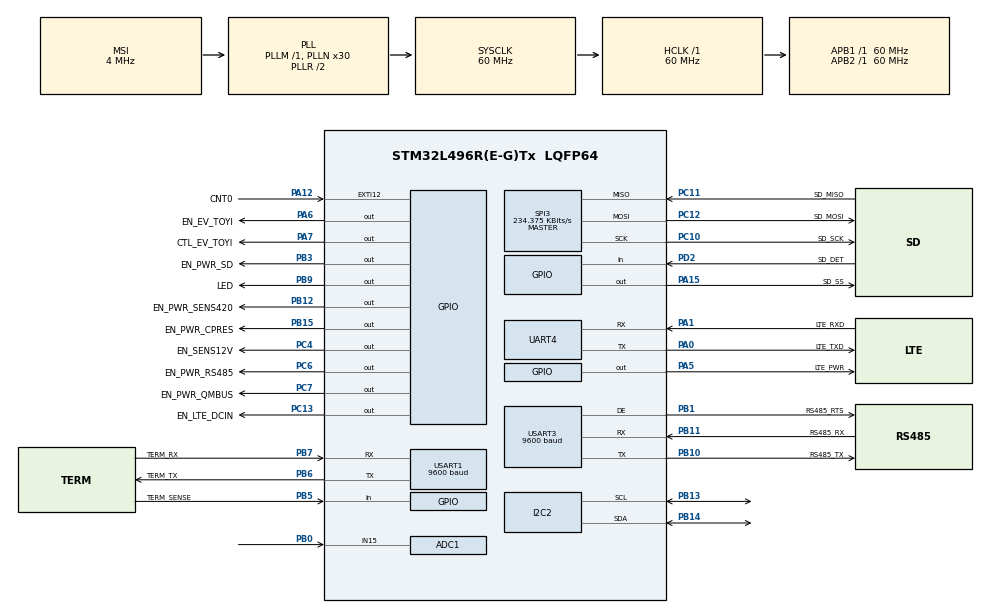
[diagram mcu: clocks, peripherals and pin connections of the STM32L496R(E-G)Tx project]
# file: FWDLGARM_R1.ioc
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ADC1.Channel-0\#ChannelRegularConversion=ADC_CHANNEL_VREFINT
ADC1.ClockPrescaler=ADC_CLOCK_SYNC_PCLK_DIV4
ADC1.EnableAnalogWatchDog2=false
ADC1.NbrOfConversion=1
ADC1.NbrOfConversionFlag=1
ADC1.OffsetNumber-0\#ChannelRegularConversion=ADC_OFFSET_NONE
ADC1.OversamplingMode=ENABLE
ADC1.Rank-0\#ChannelRegularConversion=1
ADC1.Ratio=ADC_OVERSAMPLING_RATIO_16
ADC1.RightBitShift=ADC_RIGHTBITSHIFT_4
ADC1.SamplingTime-0\#ChannelRegularConversion=ADC_SAMPLETIME_640CYCLES_5
ADC1.master=1
FATFS._FS_REENTRANT=0
FATFS._FS_TINY=1
FREERTOS.Tasks01=defaultTask,24,128,StartDefaultTask,Default,NULL,Dynamic,NULL,NULL
FREERTOS.configTICK_RATE_HZ=512
FREERTOS.configUSE_NEWLIB_REENTRANT=1
FREERTOS.configUSE_TICKLESS_IDLE=2
I2C2.Timing=0x10A077A8
LPTIM1.ClockPrescaler=LPTIM_PRESCALER_DIV32
Mcu.Family=STM32L4
Mcu.Name=STM32L496R(E-G)Tx
Mcu.Package=LQFP64
NVIC.EXTI15_10_IRQn=true\:5\:0\:false\:false\:true\:true\:true\:true\:true
NVIC.I2C2_ER_IRQn=true\:5\:0\:false\:false\:true\:true\:true\:true\:true
NVIC.I2C2_EV_IRQn=true\:5\:0\:false\:false\:true\:true\:true\:true\:true
NVIC.LPTIM1_IRQn=true\:15\:0\:true\:false\:true\:true\:true\:true\:true
NVIC.PriorityGroup=NVIC_PRIORITYGROUP_4
NVIC.TIM6_DAC_IRQn=true\:15\:0\:false\:false\:true\:false\:false\:true\:true
NVIC.TimeBase=TIM6_DAC_IRQn
NVIC.TimeBaseIP=TIM6
NVIC.UART4_IRQn=true\:5\:0\:false\:false\:true\:true\:true\:true\:true
NVIC.USART1_IRQn=true\:5\:0\:false\:false\:true\:true\:true\:true\:true
NVIC.USART3_IRQn=true\:5\:0\:false\:false\:true\:true\:true\:true\:true
PA0.GPIO_Label=LTE_TXD
PA0.Mode=Asynchronous
PA0.Signal=UART4_TX
PA1.GPIO_Label=LTE_RXD
PA1.Mode=Asynchronous
PA1.Signal=UART4_RX
PA12.GPIO_Label=CNT0
PA12.GPIO_ModeDefaultEXTI=GPIO_MODE_IT_FALLING
PA12.Signal=GPXTI12
PA13\ (JTMS/SWDIO).Signal=SYS_JTMS-SWDIO
PA14\ (JTCK/SWCLK).Signal=SYS_JTCK-SWCLK
PA15\ (JTDI).GPIO_Label=SD_SS
PA15\ (JTDI).PinState=GPIO_PIN_SET
PA15\ (JTDI).Signal=GPIO_Output
PA5.GPIO_Label=LTE_PWR
PA5.Signal=GPIO_Output
PA6.GPIO_Label=EN_EV_TOYI
PA6.Signal=GPIO_Output
PA7.GPIO_Label=CTL_EV_TOYI
PA7.Signal=GPIO_Output
PB0.Signal=ADCx_IN15
PB1.GPIO_Label=RS485_RTS
PB1.Mode=Hardware Flow Control (RS485)
PB1.Signal=USART3_DE
PB10.GPIO_Label=RS485_TX
PB10.Mode=Asynchronous
PB10.Signal=USART3_TX
PB11.GPIO_Label=RS485_RX
PB11.Mode=Asynchronous
PB11.Signal=USART3_RX
PB12.GPIO_Label=EN_PWR_SENS420
PB12.Signal=GPIO_Output
PB13.Mode=I2C
PB13.Signal=I2C2_SCL
PB14.Mode=I2C
PB14.Signal=I2C2_SDA
PB15.GPIO_Label=EN_PWR_CPRES
PB15.Signal=GPIO_Output
PB3\ (JTDO/TRACESWO).GPIO_Label=EN_PWR_SD
PB3\ (JTDO/TRACESWO).PinState=GPIO_PIN_SET
PB3\ (JTDO/TRACESWO).Signal=GPIO_Output
PB5.GPIO_Label=TERM_SENSE
PB5.GPIO_PuPd=GPIO_PULLUP
PB5.Signal=GPIO_Input
PB6.GPIO_Label=TERM_TX
PB6.Mode=Asynchronous
PB6.Signal=USART1_TX
PB7.GPIO_Label=TERM_RX
PB7.Mode=Asynchronous
PB7.Signal=USART1_RX
PB9.GPIO_Label=LED
PB9.Signal=GPIO_Output
PC10.GPIO_Label=SD_SCK
PC10.Mode=Full_Duplex_Master
PC10.Signal=SPI3_SCK
PC11.GPIO_Label=SD_MISO
PC11.Mode=Full_Duplex_Master
PC11.Signal=SPI3_MISO
PC12.GPIO_Label=SD_MOSI
PC12.Mode=Full_Duplex_Master
PC12.Signal=SPI3_MOSI
PC13.GPIO_Label=EN_LTE_DCIN
PC13.Signal=GPIO_Output
PC14-OSC32_IN\ (PC14).Mode=LSE-External-Oscillator
PC14-OSC32_IN\ (PC14).Signal=RCC_OSC32_IN
PC15-OSC32_OUT\ (PC15).Mode=LSE-External-Oscillator
PC15-OSC32_OUT\ (PC15).Signal=RCC_OSC32_OUT
PC4.GPIO_Label=EN_SENS12V
PC4.Signal=GPIO_Output
PC6.GPIO_Label=EN_PWR_RS485
PC6.Signal=GPIO_Output
PC7.GPIO_Label=EN_PWR_QMBUS
PC7.Signal=GPIO_Output
PD2.GPIO_Label=SD_DET
PD2.GPIO_PuPd=GPIO_PULLUP
PD2.Signal=GPIO_Input
ProjectManager.HeapSize=0x200
ProjectManager.StackSize=0x400
ProjectManager.TargetToolchain=STM32CubeIDE
RCC.ADCFreq_Value=32000000
RCC.AHBFreq_Value=60000000
RCC.APB1Freq_Value=60000000
RCC.APB1TimFreq_Value=60000000
RCC.APB2Freq_Value=60000000
RCC.APB2TimFreq_Value=60000000
RCC.CortexFreq_Value=60000000
RCC.HCLKFreq_Value=60000000
RCC.HSE_VALUE=8000000
RCC.HSI48_VALUE=48000000
RCC.HSI_VALUE=16000000
RCC.LPTIM1CLockSelection=RCC_LPTIM1CLKSOURCE_LSE
RCC.MSI_VALUE=4000000
RCC.PLLN=30
RCC.PLLSAI1N=16
RCC.RTCClockSelection=RCC_RTCCLKSOURCE_LSE
RCC.SYSCLKFreq_VALUE=60000000
RCC.SYSCLKSource=RCC_SYSCLKSOURCE_PLLCLK
RCC.USBFreq_Value=32000000
RCC.VCOOutputFreq_Value=120000000
SH.ADCx_IN15.0=ADC1_IN15,IN15-Single-Ended
SPI3.BaudRatePrescaler=SPI_BAUDRATEPRESCALER_256
SPI3.CalculateBaudRate=234.375 KBits/s
SPI3.DataSize=SPI_DATASIZE_8BIT
SPI3.Direction=SPI_DIRECTION_2LINES
SPI3.Mode=SPI_MODE_MASTER
SPI3.VirtualType=VM_MASTER
USART1.BaudRate=9600
USART1.VirtualMode-Asynchronous=VM_ASYNC
USART3.BaudRate=9600
USART3.VirtualMode-Asynchronous=VM_ASYNC
USART3.VirtualMode-Hardware\ Flow\ Control\ (RS485)=VM_ASYNC
VP_ADC1_Vref_Input.Mode=IN-Vrefint
VP_FATFS_VS_Generic.Mode=User_defined
VP_FREERTOS_VS_CMSIS_V2.Mode=CMSIS_V2
VP_LPTIM1_VS_LPTIM_counterModeInternalClock.Mode=Counts__internal_clock_event_00
VP_RTC_VS_RTC_Activate.Mode=RTC_Enabled
VP_RTC_VS_RTC_Calendar.Mode=RTC_Calendar
VP_SYS_VS_tim6.Mode=TIM6
board=custom

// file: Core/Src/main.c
/* USER CODE BEGIN Header */
/**
  ******************************************************************************
  * @file           : main.c
  * @brief          : Main program body
  ******************************************************************************
  * @attention
  *
  * Copyright (c) 2026 STMicroelectronics.
  * All rights reserved.
  *
  * This software is licensed under terms that can be found in the LICENSE file
  * in the root directory of this software component.
  * If no LICENSE file comes with this software, it is provided AS-IS.
  *
  ******************************************************************************
  */
/* USER CODE END Header */
#include "main.h"
#include "cmsis_os.h"
#include "fatfs.h"

/* USER CODE BEGIN Includes */
#include <stdio.h>
#include <string.h>

#include "tkCtl.h"
#include "tkCmd.h"
#include "tkSys.h"
#include "tkWan.h"
#include "tkCtlPres.h"
#include "tkFlow.h"
/* USER CODE END Includes */

/* USER CODE BEGIN PD */
/* LED_PORT / LED_PIN están en main.h, para que los vean los demás .c. */

/* Patrones de Error_Handler: cantidad de destellos cortos antes de la pausa larga. */
#define ERR_BLINKS_RELOJ      2U   /* un oscilador de baja velocidad no arrancó */
#define ERR_BLINKS_GENERIC    5U   /* cualquier otra falla                      */

/*
 * ---------------------------------------------------------------------------
 * PRUEBA_UART  (2026-09-30) — el test más puro posible del serial
 * ---------------------------------------------------------------------------
 * En 1, main() se desvía acá antes de inicializar nada y NO vuelve. Contesta
 * dos preguntas y nada más:
 *
 *   ¿sale el TX?  -> emite una línea con contador una vez por segundo
 *   ¿entra el RX?  -> hace ECO de cada byte que llega
 *
 * Deliberadamente NO usa: FreeRTOS, el tickless, TERM_SENSE, los candados de
 * energía, drv_uart, FRTOS-IO, ni una sola interrupción. Poleo directo sobre
 * los registros del USART. Si acá el serial no anda, no hay firmware que
 * culpar: es el pin, el conector, el cable o el adaptador.
 *
 * ⭐ El contador sirve para ver si se PIERDEN líneas, y el alfabeto y los
 * dígitos para ver si los bytes se corrompen. Un baudrate mal calculado se
 * manifiesta como basura, no como silencio — son dos síntomas distintos.
 *
 * ⛔ El clear de los flags de error no es decorativo: con un ORE pegado el
 * RXNE deja de levantarse y **el eco muere en silencio**. Sin limpiarlos, un
 * solo overrun al principio parecería un RX roto para siempre.
 */
/*
 * ⭐ QUE TAREAS ARRANCAN — el bisect de consumo de la fase 2.
 *
 * Toda la aplicacion esta COMPILADA desde `0.0.14`, pero una tarea que no se
 * crea es codigo muerto: no corre y no puede consumir. Por eso la variable del
 * bisect no es que archivos entran sino cuales de estos defines estan en 1.
 *
 * Se enciende UNA por vez y se mide el reposo. El orden va de menos a mas
 * riesgo, por lo que cada una prende:
 *
 *   tkSys      los rieles de sensores y Modbus, y vuelca a la microSD
 *   tkWan      el modem
 *   tkCtlPres  el riel del control de presion   } mueven actuadores
 *   tkFlow     la valvula TOYI                  }
 *
 * ⛔ Estos defines van ACA ARRIBA y no mas abajo: un `#if` sobre un `#define`
 * declarado despues se lee como 0 y compila el bloque equivocado SIN DECIR
 * NADA. Ya paso dos veces en este proyecto.
 */
#define ARRANCA_TKSYS           1     /* el poleo                        */
#define ARRANCA_TKWAN           1     /* la sesion con el servidor       */
#define ARRANCA_TKCTLPRES       1     /* la doble consigna               */
#define ARRANCA_TKFLOW          0     /* la valvula TOYI  <- ver abajo   */

/*
 * ⛔ `tkFlow` QUEDA EN 0 A PROPOSITO (decision de Pablo, 2026-10-09):
 * *"No vamos a implementar tkFlow. Queda para versiones posteriores porque por
 * ahora no se usa."*
 *
 * Es el mismo criterio con el que se elimino flowcontrol el 2026-09-22 — no
 * ensuciar el firmware con features que no se usan — pero aplicado mas suave:
 * aca el codigo NO se borra, solo no se crea la tarea. Y eso alcanza, porque un
 * `.c` linkeado cuya tarea nunca arranca no corre y no puede consumir.
 *
 * ⚠ La consecuencia hay que tenerla presente: `wan_frame.c` SI parsea los
 * `VOPEN`/`VCLOSE` que manda el servidor y llama a `tkFlow_orden()`. Con la
 * tarea sin crear esa orden no se puede atender, y por eso `tkFlow_orden()`
 * AVISA por consola en vez de descartarla en silencio: una orden del servidor
 * que se pierde sin dejar rastro es justo lo que este firmware no hace en
 * ningun otro lado.
 */

#define PRUEBA_UART             0     /* 0 = operación normal */

#define PU_PATRON_MS         1000U

/*
 * ---------------------------------------------------------------------------
 * PATRON DE CONSUMO  (2026-09-29)
 * ---------------------------------------------------------------------------
 * En 1, main() se desvía a prvPatronConsumo() ANTES de que se inicialice nada
 * —ni siquiera la consola— y no vuelve.
 *
 * Contesta UNA sola pregunta: **¿cuánto consume este micro dormido, con todo
 * lo demás apagado?** Todo lo que hace está elegido para que la respuesta no
 * dependa de nada más:
 *
 *   - NO configura el PLL: se queda con el MSI a 4 MHz tal como quedó el micro
 *     tras el reset. Cuanto menos se toque, menos hay que sospechar.
 *   - NO inicializa un solo periférico: ni USART, ni I2C, ni SPI, ni ADC.
 *   - Pone TODOS los pines de todos los puertos en ANALÓGICO, que es el estado
 *     de menor fuga. Es justamente lo que el firmware de R001 no hace: él
 *     configura los pines de la placa entera, y en una placa despoblada las
 *     entradas quedan flotando.
 *   - LIMPIA DBGMCU->CR. Ver el comentario de prvPatronConsumo().
 *
 * Referencia contra la cual comparar: el equipo dormido en Stop 2, con el LSE,
 * el RTC y el LPTIM1 vivos, mide **~5 µA** (medido dos veces, con dos pisos de
 * fuente distintos). Acá no está el LPTIM1, así que si algo debería dar MENOS.
 *
 * ⚠ Se mide con el ST-LINK DESENCHUFADO DEL USB: aporta ~145 µA.
 *
 * ⚠ El micro queda en Stop 2 PARA SIEMPRE, donde el SWD está muerto. Para
 *   volver a programarlo hay que conectarse con Mode = "Under reset"
 *   (mode=UR por CLI). NRST sigue funcionando siempre.
 */
#define PATRON_CONSUMO          0     /* 0 = operación normal */

/*
 * En 1 deja el LSE y el RTC corriendo, que es el estado real del equipo: se
 * compara directo contra los ~5 µA de referencia.
 * En 0 no enciende ningún oscilador de baja velocidad y mide el PISO ABSOLUTO
 * del Stop 2, que es más discriminante para decidir si el micro está sano.
 * Los destellos de arranque dicen cuál de las dos se bajó.
 */
#define PC_CON_LSE              1

/*
 * En 1 el patrón limpia DBGMCU_CR antes de dormir; en 0 lo deja como esté.
 *
 * ⭐ Poner esto en 0 es LA PRUEBA que separa las dos causas posibles, porque
 * deja una sola variable: si el consumo vuelve a subir a ~390 µA, el culpable
 * eran los bits de debug; si se queda en ~3 µA, eran los pines flotando.
 */
#define PC_LIMPIAR_DBGMCU       0

/*
 * ⭐ LA BISECCIÓN DEL CONSUMO, en bitmask.
 *
 * El patrón solo da 3 µA. Acá se le agregan periféricos —los mismos
 * MX_*_Init() que corre la operación normal, con los mismos pines— y se vuelve
 * a dormir en Stop 2. Cada bit que se prende acerca el ensayo al firmware
 * real, así que el salto de consumo señala al culpable.
 *
 * Se inicializan DESPUÉS de poner todo en analógico, así que lo que se mide es
 * el aporte del periférico MÁS el de los pines que él configura — que es
 * exactamente el par que interesa.
 *
 * Plan: primero 0xFF para reproducir los ~390 µA en un entorno sin FreeRTOS.
 * Con eso reproducido, búsqueda binaria: 0x0F, después la mitad que salte, y
 * en tres bajadas queda el periférico.
 *
 *   0x01 RTC        0x10 UART4 (LTE)
 *   0x02 LPTIM1     0x20 I2C2
 *   0x04 USART1     0x40 SPI3
 *   0x08 USART3     0x80 ADC1
 */
#define PC_PERIF_RTC        0x01U
#define PC_PERIF_LPTIM1     0x02U
#define PC_PERIF_USART1     0x04U
#define PC_PERIF_USART3     0x08U
#define PC_PERIF_UART4      0x10U
#define PC_PERIF_I2C2       0x20U
#define PC_PERIF_SPI3       0x40U
#define PC_PERIF_ADC1       0x80U

#define PC_PERIFERICOS      0x00U

#define PC_DESTELLOS_CON_LSE   10U   /* "llegué, y con el LSE encendido"  */
#define PC_DESTELLOS_SIN_LSE    5U   /* "llegué, sin osciladores"         */
#define PC_DESTELLOS_SIN_XTAL   2U   /* el LSE se pidió y NO arrancó      */
#define PC_ON_MS              100U
#define PC_OFF_MS             100U
#define PC_DESPERTAR_MS        60U   /* destello de "algo me despertó"    */
    /* período de la línea de prueba */

#define ERR_BLINK_ON_MS       120U
#define ERR_BLINK_OFF_MS      200U
#define ERR_PAUSE_MS         1200U
/* USER CODE END PD */

ADC_HandleTypeDef hadc1;

I2C_HandleTypeDef hi2c2;

LPTIM_HandleTypeDef hlptim1;

RTC_HandleTypeDef hrtc;

SPI_HandleTypeDef hspi3;

UART_HandleTypeDef huart4;
UART_HandleTypeDef huart1;
UART_HandleTypeDef huart3;

/* Definitions for defaultTask */
osThreadId_t defaultTaskHandle;
const osThreadAttr_t defaultTask_attributes = {
  .name = "defaultTask",
  .stack_size = 128 * 4,
  .priority = (osPriority_t) osPriorityNormal,
};
/* USER CODE BEGIN PV */
/* La memoria estática de cada tarea la define la tarea misma, en su .c de
   Application/tasks/. Acá no va nada. */
/* USER CODE END PV */

void SystemClock_Config(void);
static void MX_GPIO_Init(void);
static void MX_RTC_Init(void);
static void MX_LPTIM1_Init(void);
static void MX_ADC1_Init(void);
static void MX_USART1_UART_Init(void);
static void MX_I2C2_Init(void);
static void MX_USART3_UART_Init(void);
static void MX_SPI3_Init(void);
static void MX_UART4_Init(void);
void StartDefaultTask(void *argument);

/* USER CODE BEGIN PFP */
static void led_config( void );
static void error_delay_ms( uint32_t ms );
#if ( PRUEBA_UART == 1 )
static void prvPruebaUart( void );
#endif
#if ( PATRON_CONSUMO == 1 )
static void prvPatronConsumo( void );
#endif
/* USER CODE END PFP */

/* USER CODE BEGIN 0 */
#if ( PATRON_CONSUMO == 1 )
/*
 * Deja el LED destellando N veces y después duerme para siempre en Stop 2.
 * No retorna. Ver el comentario del #define, más arriba.
 */
static void prvPatronConsumo( void )
{
    GPIO_InitTypeDef gpio      = { 0 };
    uint32_t         destellos = 0U;
    uint32_t         i;

    /* error_delay_ms() calibra su lazo con SystemCoreClock, y acá el SysTick no
       corre. Tras el reset el MSI está en 4 MHz; sin esta línea los destellos
       saldrían quince veces más rápidos, que es el mismo pozo que costó medio
       día el 2026-08-11 con Error_Handler(). */
    SystemCoreClockUpdate();

    /*
     * ⛔ EL SOSPECHOSO NÚMERO UNO, y por eso es lo primero que se hace.
     *
     * Al conectarse, CubeProgrammer y el GDB server del IDE informan
     * "Debug in Low Power mode enabled" y ponen DBG_SLEEP / DBG_STOP /
     * DBG_STANDBY en DBGMCU_CR. Con DBG_STOP puesto **el micro NO apaga los
     * relojes al entrar en Stop 2**: los mantiene para que el debugger no
     * pierda el enganche. Un micro que cree estar dormido y tiene el reloj
     * corriendo consume cientos de µA en vez de unidades.
     *
     * Y lo que lo vuelve traicionero: DBGMCU_CR **NO se resetea con el reset
     * del sistema**, sólo con el power-on reset. O sea que los bits sobreviven
     * a NRST, a un reset por software y a cuantos firmwares se bajen encima —
     * pero desaparecen si se corta la alimentación. Eso explica que una misma
     * placa mida distinto según si hubo o no un ciclo de energía antes.
     *
     * Nadie del firmware los pone; los pone la herramienta al conectarse.
     */
#if ( PC_LIMPIAR_DBGMCU == 1 )
    DBGMCU->CR = 0U;
#endif

    /* ---- los destellos dicen QUÉ binario se bajó ---------------------- */
#if ( PC_CON_LSE == 1 )
    destellos = PC_DESTELLOS_CON_LSE;
#else
    destellos = PC_DESTELLOS_SIN_LSE;
#endif

    led_config();

    for( i = 0U; i < destellos; i++ )
    {
        HAL_GPIO_WritePin( LED_PORT, LED_PIN, GPIO_PIN_SET );
        error_delay_ms( PC_ON_MS );
        HAL_GPIO_WritePin( LED_PORT, LED_PIN, GPIO_PIN_RESET );
        error_delay_ms( PC_OFF_MS );
    }

#if ( PC_CON_LSE == 1 )
    /*
     * El LSE va ANTES de poner los pines en analógico, por dos razones: para
     * poder avisar por el LED si el cristal no arranca, y porque una vez
     * encendido el oscilador toma control de PC14/PC15 y el GPIO deja de
     * mandar sobre ellos.
     */
    {
        RCC_OscInitTypeDef       osc    = { 0 };
        RCC_PeriphCLKInitTypeDef periph = { 0 };

        HAL_PWR_EnableBkUpAccess();

        osc.OscillatorType = RCC_OSCILLATORTYPE_LSE;
        osc.LSEState       = RCC_LSE_ON;
        osc.PLL.PLLState   = RCC_PLL_NONE;      /* que no toque el PLL */

        if( HAL_RCC_OscConfig( &osc ) == HAL_OK )
        {
            __HAL_RCC_LSEDRIVE_CONFIG( RCC_LSEDRIVE_LOW );

            /* El RTC es el consumidor que hace que el LSE quede realmente en
               uso; sin un consumidor el oscilador no aporta nada al ensayo. */
            periph.PeriphClockSelection = RCC_PERIPHCLK_RTC;
            periph.RTCClockSelection    = RCC_RTCCLKSOURCE_LSE;
            ( void ) HAL_RCCEx_PeriphCLKConfig( &periph );
            __HAL_RCC_RTC_ENABLE();
        }
        else
        {
            /* No se llama a Error_Handler(): el ensayo sigue valiendo sin el
               cristal, sólo hay que saber que se está midiendo sin él. */
            error_delay_ms( 800U );

            for( i = 0U; i < PC_DESTELLOS_SIN_XTAL; i++ )
            {
                HAL_GPIO_WritePin( LED_PORT, LED_PIN, GPIO_PIN_SET );
                error_delay_ms( 400U );
                HAL_GPIO_WritePin( LED_PORT, LED_PIN, GPIO_PIN_RESET );
                error_delay_ms( 400U );
            }
        }
    }
#endif /* PC_CON_LSE */

    /*
     * ---- TODOS los pines en analógico -------------------------------------
     *
     * Analógico + sin pull es el estado de menor fuga que tiene el silicio:
     * desconecta el buffer de entrada digital, que es lo que consume cuando un
     * pin queda flotando cerca del umbral y hace conducir a la vez los dos
     * transistores de su etapa.
     *
     * Es también el estado en que quedan los pines tras el reset, así que esto
     * es explícito a propósito: el ensayo no debe depender de suposiciones
     * sobre lo que quedó de antes.
     *
     * Dos exclusiones, las dos deliberadas:
     *   - PA13/PA14 (SWD): sus pulls internos no conducen con el dongle
     *     desconectado, así que dejarlos vivos es gratis y conserva la
     *     posibilidad de engancharse.
     *   - PC14/PC15 (OSC32): con el LSE encendido los maneja el oscilador.
     *
     * Sólo se barren los puertos que tienen pines en el LQFP64. Un pin de un
     * puerto que no sale al encapsulado está atado internamente y no flota.
     */
    gpio.Mode  = GPIO_MODE_ANALOG;
    gpio.Pull  = GPIO_NOPULL;
    gpio.Speed = GPIO_SPEED_FREQ_LOW;

    __HAL_RCC_GPIOA_CLK_ENABLE();
    gpio.Pin = GPIO_PIN_All & ~( GPIO_PIN_13 | GPIO_PIN_14 );
    HAL_GPIO_Init( GPIOA, &gpio );

    __HAL_RCC_GPIOB_CLK_ENABLE();
    gpio.Pin = GPIO_PIN_All;                    /* incluye el LED: se apaga */
    HAL_GPIO_Init( GPIOB, &gpio );

    __HAL_RCC_GPIOC_CLK_ENABLE();
    gpio.Pin = GPIO_PIN_All & ~( GPIO_PIN_14 | GPIO_PIN_15 );
    HAL_GPIO_Init( GPIOC, &gpio );

    __HAL_RCC_GPIOD_CLK_ENABLE();
    gpio.Pin = GPIO_PIN_All;
    HAL_GPIO_Init( GPIOD, &gpio );

    __HAL_RCC_GPIOH_CLK_ENABLE();
    gpio.Pin = GPIO_PIN_All;
    HAL_GPIO_Init( GPIOH, &gpio );

    /*
     * ---- los periféricos que se quieran sumar al ensayo -------------------
     *
     * Van DESPUÉS del aislado a propósito: cada MX_*_Init() reconfigura los
     * pines que usa, así que lo que queda medido es el periférico con sus
     * pines tal como los deja la operación normal.
     */
#if ( ( PC_PERIFERICOS & PC_PERIF_RTC ) != 0U )
    MX_RTC_Init();
#endif
#if ( ( PC_PERIFERICOS & PC_PERIF_LPTIM1 ) != 0U )
    MX_LPTIM1_Init();
#endif
#if ( ( PC_PERIFERICOS & PC_PERIF_USART1 ) != 0U )
    MX_USART1_UART_Init();
#endif
#if ( ( PC_PERIFERICOS & PC_PERIF_USART3 ) != 0U )
    MX_USART3_UART_Init();
#endif
#if ( ( PC_PERIFERICOS & PC_PERIF_UART4 ) != 0U )
    MX_UART4_Init();
#endif
#if ( ( PC_PERIFERICOS & PC_PERIF_I2C2 ) != 0U )
    MX_I2C2_Init();
#endif
#if ( ( PC_PERIFERICOS & PC_PERIF_SPI3 ) != 0U )
    MX_SPI3_Init();
#endif
#if ( ( PC_PERIFERICOS & PC_PERIF_ADC1 ) != 0U )
    MX_ADC1_Init();
#endif

    /*
     * ---- a dormir, y no volver --------------------------------------------
     *
     * El SysTick se suspende: con él corriendo habría una interrupción
     * pendiente cada milisegundo, que es justo lo que no deja entrar al WFI.
     *
     * El lazo está porque despertar NO debería pasar: con todos los pines en
     * analógico no hay EXTI posible y no hay periférico configurado. Si el LED
     * destella tres veces, ALGO está despertando al micro y la medición no vale
     * — y eso es un diagnóstico, no un adorno: distingue "consume dormido" de
     * "no se queda dormido", que desde el amperímetro se ven igual.
     */
    HAL_SuspendTick();

    for( ;; )
    {
        HAL_PWREx_EnterSTOP2Mode( PWR_STOPENTRY_WFI );

        /* Al salir de Stop el reloj vuelve al MSI: recalibrar el lazo. */
        SystemCoreClockUpdate();

        led_config();

        for( i = 0U; i < 3U; i++ )
        {
            HAL_GPIO_WritePin( LED_PORT, LED_PIN, GPIO_PIN_SET );
            error_delay_ms( PC_DESPERTAR_MS );
            HAL_GPIO_WritePin( LED_PORT, LED_PIN, GPIO_PIN_RESET );
            error_delay_ms( PC_DESPERTAR_MS );
        }

        gpio.Mode = GPIO_MODE_ANALOG;
        gpio.Pull = GPIO_NOPULL;
        gpio.Pin  = LED_PIN;
        HAL_GPIO_Init( LED_PORT, &gpio );
    }
}
#endif /* PATRON_CONSUMO */

#if ( PRUEBA_UART == 1 )
/* Ver el comentario del #define PRUEBA_UART, más arriba. No retorna. */
static void prvPruebaUart( void )
{
    char           cLinea[ 80 ];
    uint32_t       ulLinea   = 0U;
    uint32_t       ulProxima = 0U;
    USART_TypeDef *pxUsart;

    /* El reloj va acá porque esta función se desvía ANTES de que main() llegue
       a SystemClock_Config(). Es la misma llamada: 60 MHz, y de ahí sale el
       divisor de 9600 del USART. */
    SystemClock_Config();

    /* La USART y sus pines. El MspInit configura PB6/PB7 en AF7 y habilita el
       reloj del periférico; no hace falta MX_GPIO_Init() para esto. */
    MX_USART1_UART_Init();

    led_config();

    pxUsart = huart1.Instance;

    /* ⚠ El largo va con strlen() y no con un número: el primer intento puso 46
       donde eran 49 y el banner habría salido cortado. Un largo escrito a mano
       es un bug esperando a que alguien cambie el texto. */
    static const char cBanner[] = "\r\n\r\n== PRUEBA_UART: TX cada 1 s + ECO del RX ==\r\n";

    ( void ) HAL_UART_Transmit( &huart1, ( const uint8_t * ) cBanner,
                                ( uint16_t ) strlen( cBanner ), HAL_MAX_DELAY );

    for( ;; )
    {
        /*
         * ---- 1. EL ECO, lo primero y en cada vuelta ----------------------
         *
         * Va antes que el patrón y sin ninguna espera en el medio: así el byte
         * se devuelve en cuanto llega y no hay ventana para perderlo.
         */
        if( ( pxUsart->ISR & USART_ISR_RXNE ) != 0U )
        {
            uint32_t ulRx = pxUsart->RDR;          /* leer RDR limpia RXNE */

            while( ( pxUsart->ISR & USART_ISR_TXE ) == 0U )
            {
            }
            pxUsart->TDR = ulRx;
        }

        /*
         * ---- 2. Limpiar los errores --------------------------------------
         *
         * ⛔ Con un ORE pegado el RXNE no vuelve a levantarse y el eco muere
         * para siempre. Un solo overrun —dos bytes seguidos mientras el TX del
         * patrón estaba ocupado— parecería un RX roto.
         */
        if( ( pxUsart->ISR & ( USART_ISR_ORE | USART_ISR_FE |
                               USART_ISR_NE  | USART_ISR_PE ) ) != 0U )
        {
            pxUsart->ICR = USART_ICR_ORECF | USART_ICR_FECF |
                           USART_ICR_NECF  | USART_ICR_PECF;
        }

        /*
         * ---- 3. El patrón, una vez por segundo ---------------------------
         *
         * HAL_GetTick() sirve acá porque sin FreeRTOS el timebase de la HAL
         * (TIM6) corre normalmente: no hay tickless que lo suspenda.
         */
        if( ( int32_t ) ( HAL_GetTick() - ulProxima ) >= 0 )
        {
            ulProxima = HAL_GetTick() + PU_PATRON_MS;

            int n = snprintf( cLinea, sizeof( cLinea ),
                              "TX %06lu ABCDEFGHIJKLMNOPQRSTUVWXYZ 0123456789\r\n",
                              ( unsigned long ) ulLinea++ );

            if( n > 0 )
            {
                ( void ) HAL_UART_Transmit( &huart1, ( const uint8_t * ) cLinea,
                                            ( uint16_t ) n, HAL_MAX_DELAY );
            }

            /* Cambia en cada línea: el LED late a 0,5 Hz mientras esto corre. */
            HAL_GPIO_TogglePin( LED_PORT, LED_PIN );
        }
    }
}
#endif /* PRUEBA_UART */

/*
 * Configura el pin del LED. Se llama desde Error_Handler() además del arranque,
 * porque una falla puede dispararse ANTES de MX_GPIO_Init().
 */
static void led_config( void )
{
    GPIO_InitTypeDef gpio = { 0 };

    __HAL_RCC_GPIOB_CLK_ENABLE();
    gpio.Pin   = LED_PIN;
    gpio.Mode  = GPIO_MODE_OUTPUT_PP;
    gpio.Pull  = GPIO_NOPULL;
    gpio.Speed = GPIO_SPEED_FREQ_LOW;
    HAL_GPIO_Init( LED_PORT, &gpio );
}

/*
 * Espera por sondeo, para los destellos de diagnóstico.
 *
 * ⚠ Con el tick del kernel en el LPTIM1 el SysTick NUNCA se arranca, así que en
 * la práctica se usa siempre la rama del lazo tosco. El contador es volatile
 * para que el compilador no lo elimine con -Os.
 *
 * ⚠ El lazo se calibra con SystemCoreClock: quien lo llame después de un cambio
 * de reloj tiene que haber corrido SystemCoreClockUpdate() antes, o los tiempos
 * salen hasta quince veces más rápidos. Ver Error_Handler().
 */
static void error_delay_ms( uint32_t ms )
{
    if( ( SysTick->CTRL & SysTick_CTRL_ENABLE_Msk ) != 0U )
    {
        while( ms-- )
        {
            while( ( SysTick->CTRL & SysTick_CTRL_COUNTFLAG_Msk ) == 0U )
            {
            }
        }
    }
    else
    {
        volatile uint32_t vueltas = ms * ( SystemCoreClock / 8000U );
        while( vueltas-- )
        {
        }
    }
}
/* USER CODE END 0 */

int main(void)
{

  /* MCU Configuration--------------------------------------------------------*/

  /* Reset of all peripherals, Initializes the Flash interface and the Systick. */
  HAL_Init();

  /* USER CODE BEGIN Init */
#if ( PATRON_CONSUMO == 1 )
  /* Se va acá y NO VUELVE, antes de que se inicialice nada: levantar la USART
     dejaría PB6/PB7 en alterno y el periférico encendido, que es exactamente lo
     que este ensayo no quiere tener prendido. */
  prvPatronConsumo();
#endif

#if ( PRUEBA_UART == 1 )
  /* Se va acá y no vuelve. Ver el comentario del #define PRUEBA_UART. */
  prvPruebaUart();
#endif
  /* USER CODE END Init */

  /* Configure the system clock */
  SystemClock_Config();

  /* Initialize all configured peripherals */
  MX_GPIO_Init();
  MX_RTC_Init();
  MX_LPTIM1_Init();
  MX_ADC1_Init();
  MX_USART1_UART_Init();
  MX_I2C2_Init();
  MX_USART3_UART_Init();
  MX_SPI3_Init();
  MX_UART4_Init();
  MX_FATFS_Init();

  /* Init scheduler */
  osKernelInitialize();

  /* Create the thread(s) */
  /* creation of defaultTask */
  defaultTaskHandle = osThreadNew(StartDefaultTask, NULL, &defaultTask_attributes);

  /* USER CODE BEGIN RTOS_THREADS */
  /* La única tarea del firmware, con la API nativa de FreeRTOS (no el wrapper
     CMSIS) y memoria estática: no toca el heap. */
  xHandle_tkCtl = xTaskCreateStatic( tkCtl,
                                     "CTL",
                                     tkCtl_STACK_SIZE,  /* en PALABRAS, no bytes */
                                     NULL,
                                     tkCtl_PRIORITY,
                                     tkCtl_Stack,
                                     &tkCtl_TCB );
  if ( xHandle_tkCtl == NULL )
  {
    Error_Handler();
  }

  /* La consola. Abre los drivers de FRTOS-IO desde adentro de la tarea, porque
     crear semáforos y stream buffers necesita el scheduler ya corriendo. */
  if ( xTaskCreateStatic( tkCmd,
                          "CMD",
                          tkCmd_STACK_SIZE,
                          NULL,
                          tkCmd_PRIORITY,
                          tkCmd_Stack,
                          &tkCmd_TCB ) == NULL )
  {
    Error_Handler();
  }

#if ( ARRANCA_TKSYS == 1 )
  xHandle_tkSys = xTaskCreateStatic( tkSys, "SYS", tkSys_STACK_SIZE, NULL,
                                     tkSys_PRIORITY, tkSys_Stack, &tkSys_TCB );
  if ( xHandle_tkSys == NULL ) { Error_Handler(); }
#endif

#if ( ARRANCA_TKWAN == 1 )
  xHandle_tkWan = xTaskCreateStatic( tkWan, "WAN", tkWan_STACK_SIZE, NULL,
                                     tkWan_PRIORITY, tkWan_Stack, &tkWan_TCB );
  if ( xHandle_tkWan == NULL ) { Error_Handler(); }
#endif

#if ( ARRANCA_TKCTLPRES == 1 )
  xHandle_tkCtlPres = xTaskCreateStatic( tkCtlPres, "CPRES", tkCtlPres_STACK_SIZE, NULL,
                                         tkCtlPres_PRIORITY, tkCtlPres_Stack, &tkCtlPres_TCB );
  if ( xHandle_tkCtlPres == NULL ) { Error_Handler(); }
#endif

#if ( ARRANCA_TKFLOW == 1 )
  xHandle_tkFlow = xTaskCreateStatic( tkFlow, "FLOW", tkFlow_STACK_SIZE, NULL,
                                      tkFlow_PRIORITY, tkFlow_Stack, &tkFlow_TCB );
  if ( xHandle_tkFlow == NULL ) { Error_Handler(); }
#endif
  /* USER CODE END RTOS_THREADS */

  /* Start scheduler */
  osKernelStart();

  /* We should never get here as control is now taken by the scheduler */

  /* Infinite loop */
  while (1)
  {

  }
}

void SystemClock_Config(void)
{
  RCC_OscInitTypeDef RCC_OscInitStruct = {0};
  RCC_ClkInitTypeDef RCC_ClkInitStruct = {0};

  /** Configure the main internal regulator output voltage
  */
  if (HAL_PWREx_ControlVoltageScaling(PWR_REGULATOR_VOLTAGE_SCALE1) != HAL_OK)
  {
    Error_Handler();
  }

  /** Configure LSE Drive Capability
  */
  HAL_PWR_EnableBkUpAccess();
  __HAL_RCC_LSEDRIVE_CONFIG(RCC_LSEDRIVE_LOW);

  /** Initializes the RCC Oscillators according to the specified parameters
  * in the RCC_OscInitTypeDef structure.
  */
  RCC_OscInitStruct.OscillatorType = RCC_OSCILLATORTYPE_LSE|RCC_OSCILLATORTYPE_MSI;
  RCC_OscInitStruct.LSEState = RCC_LSE_ON;
  RCC_OscInitStruct.MSIState = RCC_MSI_ON;
  RCC_OscInitStruct.MSICalibrationValue = 0;
  RCC_OscInitStruct.MSIClockRange = RCC_MSIRANGE_6;
  RCC_OscInitStruct.PLL.PLLState = RCC_PLL_ON;
  RCC_OscInitStruct.PLL.PLLSource = RCC_PLLSOURCE_MSI;
  RCC_OscInitStruct.PLL.PLLM = 1;
  RCC_OscInitStruct.PLL.PLLN = 30;
  RCC_OscInitStruct.PLL.PLLP = RCC_PLLP_DIV2;
  RCC_OscInitStruct.PLL.PLLQ = RCC_PLLQ_DIV2;
  RCC_OscInitStruct.PLL.PLLR = RCC_PLLR_DIV2;
  if (HAL_RCC_OscConfig(&RCC_OscInitStruct) != HAL_OK)
  {
    Error_Handler();
  }

  /** Initializes the CPU, AHB and APB buses clocks
  */
  RCC_ClkInitStruct.ClockType = RCC_CLOCKTYPE_HCLK|RCC_CLOCKTYPE_SYSCLK
                              |RCC_CLOCKTYPE_PCLK1|RCC_CLOCKTYPE_PCLK2;
  RCC_ClkInitStruct.SYSCLKSource = RCC_SYSCLKSOURCE_PLLCLK;
  RCC_ClkInitStruct.AHBCLKDivider = RCC_SYSCLK_DIV1;
  RCC_ClkInitStruct.APB1CLKDivider = RCC_HCLK_DIV1;
  RCC_ClkInitStruct.APB2CLKDivider = RCC_HCLK_DIV1;

  if (HAL_RCC_ClockConfig(&RCC_ClkInitStruct, FLASH_LATENCY_3) != HAL_OK)
  {
    Error_Handler();
  }
}

static void MX_ADC1_Init(void)
{

  ADC_MultiModeTypeDef multimode = {0};
  ADC_ChannelConfTypeDef sConfig = {0};

  /** Common config
  */
  hadc1.Instance = ADC1;
  hadc1.Init.ClockPrescaler = ADC_CLOCK_SYNC_PCLK_DIV4;
  hadc1.Init.Resolution = ADC_RESOLUTION_12B;
  hadc1.Init.DataAlign = ADC_DATAALIGN_RIGHT;
  hadc1.Init.ScanConvMode = ADC_SCAN_DISABLE;
  hadc1.Init.EOCSelection = ADC_EOC_SINGLE_CONV;
  hadc1.Init.LowPowerAutoWait = DISABLE;
  hadc1.Init.ContinuousConvMode = DISABLE;
  hadc1.Init.NbrOfConversion = 1;
  hadc1.Init.DiscontinuousConvMode = DISABLE;
  hadc1.Init.ExternalTrigConv = ADC_SOFTWARE_START;
  hadc1.Init.ExternalTrigConvEdge = ADC_EXTERNALTRIGCONVEDGE_NONE;
  hadc1.Init.DMAContinuousRequests = DISABLE;
  hadc1.Init.Overrun = ADC_OVR_DATA_PRESERVED;
  hadc1.Init.OversamplingMode = ENABLE;
  hadc1.Init.Oversampling.Ratio = ADC_OVERSAMPLING_RATIO_16;
  hadc1.Init.Oversampling.RightBitShift = ADC_RIGHTBITSHIFT_4;
  hadc1.Init.Oversampling.TriggeredMode = ADC_TRIGGEREDMODE_SINGLE_TRIGGER;
  hadc1.Init.Oversampling.OversamplingStopReset = ADC_REGOVERSAMPLING_CONTINUED_MODE;
  if (HAL_ADC_Init(&hadc1) != HAL_OK)
  {
    Error_Handler();
  }

  /** Configure the ADC multi-mode
  */
  multimode.Mode = ADC_MODE_INDEPENDENT;
  if (HAL_ADCEx_MultiModeConfigChannel(&hadc1, &multimode) != HAL_OK)
  {
    Error_Handler();
  }

  /** Configure Regular Channel
  */
  sConfig.Channel = ADC_CHANNEL_VREFINT;
  sConfig.Rank = ADC_REGULAR_RANK_1;
  sConfig.SamplingTime = ADC_SAMPLETIME_640CYCLES_5;
  sConfig.SingleDiff = ADC_SINGLE_ENDED;
  sConfig.OffsetNumber = ADC_OFFSET_NONE;
  sConfig.Offset = 0;
  if (HAL_ADC_ConfigChannel(&hadc1, &sConfig) != HAL_OK)
  {
    Error_Handler();
  }

}

static void MX_I2C2_Init(void)
{

  hi2c2.Instance = I2C2;
  hi2c2.Init.Timing = 0x10A077A8;
  hi2c2.Init.OwnAddress1 = 0;
  hi2c2.Init.AddressingMode = I2C_ADDRESSINGMODE_7BIT;
  hi2c2.Init.DualAddressMode = I2C_DUALADDRESS_DISABLE;
  hi2c2.Init.OwnAddress2 = 0;
  hi2c2.Init.OwnAddress2Masks = I2C_OA2_NOMASK;
  hi2c2.Init.GeneralCallMode = I2C_GENERALCALL_DISABLE;
  hi2c2.Init.NoStretchMode = I2C_NOSTRETCH_DISABLE;
  if (HAL_I2C_Init(&hi2c2) != HAL_OK)
  {
    Error_Handler();
  }

  /** Configure Analogue filter
  */
  if (HAL_I2CEx_ConfigAnalogFilter(&hi2c2, I2C_ANALOGFILTER_ENABLE) != HAL_OK)
  {
    Error_Handler();
  }

  /** Configure Digital filter
  */
  if (HAL_I2CEx_ConfigDigitalFilter(&hi2c2, 0) != HAL_OK)
  {
    Error_Handler();
  }

}

static void MX_LPTIM1_Init(void)
{

  hlptim1.Instance = LPTIM1;
  hlptim1.Init.Clock.Source = LPTIM_CLOCKSOURCE_APBCLOCK_LPOSC;
  hlptim1.Init.Clock.Prescaler = LPTIM_PRESCALER_DIV32;
  hlptim1.Init.Trigger.Source = LPTIM_TRIGSOURCE_SOFTWARE;
  hlptim1.Init.OutputPolarity = LPTIM_OUTPUTPOLARITY_HIGH;
  hlptim1.Init.UpdateMode = LPTIM_UPDATE_IMMEDIATE;
  hlptim1.Init.CounterSource = LPTIM_COUNTERSOURCE_INTERNAL;
  hlptim1.Init.Input1Source = LPTIM_INPUT1SOURCE_GPIO;
  hlptim1.Init.Input2Source = LPTIM_INPUT2SOURCE_GPIO;
  if (HAL_LPTIM_Init(&hlptim1) != HAL_OK)
  {
    Error_Handler();
  }

}

static void MX_RTC_Init(void)
{

  RTC_TimeTypeDef sTime = {0};
  RTC_DateTypeDef sDate = {0};

  /** Initialize RTC Only
  */
  hrtc.Instance = RTC;
  hrtc.Init.HourFormat = RTC_HOURFORMAT_24;
  hrtc.Init.AsynchPrediv = 127;
  hrtc.Init.SynchPrediv = 255;
  hrtc.Init.OutPut = RTC_OUTPUT_DISABLE;
  hrtc.Init.OutPutRemap = RTC_OUTPUT_REMAP_NONE;
  hrtc.Init.OutPutPolarity = RTC_OUTPUT_POLARITY_HIGH;
  hrtc.Init.OutPutType = RTC_OUTPUT_TYPE_OPENDRAIN;
  if (HAL_RTC_Init(&hrtc) != HAL_OK)
  {
    Error_Handler();
  }

  /** Initialize RTC and set the Time and Date
  */
  sTime.Hours = 0x0;
  sTime.Minutes = 0x0;
  sTime.Seconds = 0x0;
  sTime.DayLightSaving = RTC_DAYLIGHTSAVING_NONE;
  sTime.StoreOperation = RTC_STOREOPERATION_RESET;
  if (HAL_RTC_SetTime(&hrtc, &sTime, RTC_FORMAT_BCD) != HAL_OK)
  {
    Error_Handler();
  }
  sDate.WeekDay = RTC_WEEKDAY_MONDAY;
  sDate.Month = RTC_MONTH_JANUARY;
  sDate.Date = 0x1;
  sDate.Year = 0x0;

  if (HAL_RTC_SetDate(&hrtc, &sDate, RTC_FORMAT_BCD) != HAL_OK)
  {
    Error_Handler();
  }

}

static void MX_SPI3_Init(void)
{

  /* SPI3 parameter configuration*/
  hspi3.Instance = SPI3;
  hspi3.Init.Mode = SPI_MODE_MASTER;
  hspi3.Init.Direction = SPI_DIRECTION_2LINES;
  hspi3.Init.DataSize = SPI_DATASIZE_8BIT;
  hspi3.Init.CLKPolarity = SPI_POLARITY_LOW;
  hspi3.Init.CLKPhase = SPI_PHASE_1EDGE;
  hspi3.Init.NSS = SPI_NSS_SOFT;
  hspi3.Init.BaudRatePrescaler = SPI_BAUDRATEPRESCALER_256;
  hspi3.Init.FirstBit = SPI_FIRSTBIT_MSB;
  hspi3.Init.TIMode = SPI_TIMODE_DISABLE;
  hspi3.Init.CRCCalculation = SPI_CRCCALCULATION_DISABLE;
  hspi3.Init.CRCPolynomial = 7;
  hspi3.Init.CRCLength = SPI_CRC_LENGTH_DATASIZE;
  hspi3.Init.NSSPMode = SPI_NSS_PULSE_ENABLE;
  if (HAL_SPI_Init(&hspi3) != HAL_OK)
  {
    Error_Handler();
  }

}

static void MX_UART4_Init(void)
{

  huart4.Instance = UART4;
  huart4.Init.BaudRate = 115200;
  huart4.Init.WordLength = UART_WORDLENGTH_8B;
  huart4.Init.StopBits = UART_STOPBITS_1;
  huart4.Init.Parity = UART_PARITY_NONE;
  huart4.Init.Mode = UART_MODE_TX_RX;
  huart4.Init.HwFlowCtl = UART_HWCONTROL_NONE;
  huart4.Init.OverSampling = UART_OVERSAMPLING_16;
  huart4.Init.OneBitSampling = UART_ONE_BIT_SAMPLE_DISABLE;
  huart4.AdvancedInit.AdvFeatureInit = UART_ADVFEATURE_NO_INIT;
  if (HAL_UART_Init(&huart4) != HAL_OK)
  {
    Error_Handler();
  }

}

static void MX_USART1_UART_Init(void)
{

  huart1.Instance = USART1;
  huart1.Init.BaudRate = 9600;
  huart1.Init.WordLength = UART_WORDLENGTH_8B;
  huart1.Init.StopBits = UART_STOPBITS_1;
  huart1.Init.Parity = UART_PARITY_NONE;
  huart1.Init.Mode = UART_MODE_TX_RX;
  huart1.Init.HwFlowCtl = UART_HWCONTROL_NONE;
  huart1.Init.OverSampling = UART_OVERSAMPLING_16;
  huart1.Init.OneBitSampling = UART_ONE_BIT_SAMPLE_DISABLE;
  huart1.AdvancedInit.AdvFeatureInit = UART_ADVFEATURE_NO_INIT;
  if (HAL_UART_Init(&huart1) != HAL_OK)
  {
    Error_Handler();
  }

}

static void MX_USART3_UART_Init(void)
{

  huart3.Instance = USART3;
  huart3.Init.BaudRate = 9600;
  huart3.Init.WordLength = UART_WORDLENGTH_8B;
  huart3.Init.StopBits = UART_STOPBITS_1;
  huart3.Init.Parity = UART_PARITY_NONE;
  huart3.Init.Mode = UART_MODE_TX_RX;
  huart3.Init.HwFlowCtl = UART_HWCONTROL_NONE;
  huart3.Init.OverSampling = UART_OVERSAMPLING_16;
  huart3.Init.OneBitSampling = UART_ONE_BIT_SAMPLE_DISABLE;
  huart3.AdvancedInit.AdvFeatureInit = UART_ADVFEATURE_NO_INIT;
  if (HAL_RS485Ex_Init(&huart3, UART_DE_POLARITY_HIGH, 0, 0) != HAL_OK)
  {
    Error_Handler();
  }

}

static void MX_GPIO_Init(void)
{
  GPIO_InitTypeDef GPIO_InitStruct = {0};

  /* GPIO Ports Clock Enable */
  __HAL_RCC_GPIOC_CLK_ENABLE();
  __HAL_RCC_GPIOA_CLK_ENABLE();
  __HAL_RCC_GPIOB_CLK_ENABLE();
  __HAL_RCC_GPIOD_CLK_ENABLE();

  /*Configure GPIO pin Output Level */
  HAL_GPIO_WritePin(GPIOC, EN_LTE_DCIN_Pin|EN_SENS12V_Pin|EN_PWR_RS485_Pin|EN_PWR_QMBUS_Pin, GPIO_PIN_RESET);

  /*Configure GPIO pin Output Level */
  HAL_GPIO_WritePin(GPIOA, LTE_PWR_Pin|EN_EV_TOYI_Pin|CTL_EV_TOYI_Pin, GPIO_PIN_RESET);

  /*Configure GPIO pin Output Level */
  HAL_GPIO_WritePin(GPIOB, EN_PWR_SENS420_Pin|EN_PWR_CPRES_Pin|LED_Pin, GPIO_PIN_RESET);

  /*Configure GPIO pin Output Level */
  HAL_GPIO_WritePin(SD_SS_GPIO_Port, SD_SS_Pin, GPIO_PIN_SET);

  /*Configure GPIO pin Output Level */
  HAL_GPIO_WritePin(EN_PWR_SD_GPIO_Port, EN_PWR_SD_Pin, GPIO_PIN_SET);

  /*Configure GPIO pins : EN_LTE_DCIN_Pin EN_SENS12V_Pin EN_PWR_RS485_Pin EN_PWR_QMBUS_Pin */
  GPIO_InitStruct.Pin = EN_LTE_DCIN_Pin|EN_SENS12V_Pin|EN_PWR_RS485_Pin|EN_PWR_QMBUS_Pin;
  GPIO_InitStruct.Mode = GPIO_MODE_OUTPUT_PP;
  GPIO_InitStruct.Pull = GPIO_NOPULL;
  GPIO_InitStruct.Speed = GPIO_SPEED_FREQ_LOW;
  HAL_GPIO_Init(GPIOC, &GPIO_InitStruct);

  /*Configure GPIO pins : LTE_PWR_Pin EN_EV_TOYI_Pin CTL_EV_TOYI_Pin SD_SS_Pin */
  GPIO_InitStruct.Pin = LTE_PWR_Pin|EN_EV_TOYI_Pin|CTL_EV_TOYI_Pin|SD_SS_Pin;
  GPIO_InitStruct.Mode = GPIO_MODE_OUTPUT_PP;
  GPIO_InitStruct.Pull = GPIO_NOPULL;
  GPIO_InitStruct.Speed = GPIO_SPEED_FREQ_LOW;
  HAL_GPIO_Init(GPIOA, &GPIO_InitStruct);

  /*Configure GPIO pins : EN_PWR_SENS420_Pin EN_PWR_CPRES_Pin EN_PWR_SD_Pin LED_Pin */
  GPIO_InitStruct.Pin = EN_PWR_SENS420_Pin|EN_PWR_CPRES_Pin|EN_PWR_SD_Pin|LED_Pin;
  GPIO_InitStruct.Mode = GPIO_MODE_OUTPUT_PP;
  GPIO_InitStruct.Pull = GPIO_NOPULL;
  GPIO_InitStruct.Speed = GPIO_SPEED_FREQ_LOW;
  HAL_GPIO_Init(GPIOB, &GPIO_InitStruct);

  /*Configure GPIO pin : CNT0_Pin */
  GPIO_InitStruct.Pin = CNT0_Pin;
  GPIO_InitStruct.Mode = GPIO_MODE_IT_FALLING;
  GPIO_InitStruct.Pull = GPIO_NOPULL;
  HAL_GPIO_Init(CNT0_GPIO_Port, &GPIO_InitStruct);

  /*Configure GPIO pin : SD_DET_Pin */
  GPIO_InitStruct.Pin = SD_DET_Pin;
  GPIO_InitStruct.Mode = GPIO_MODE_INPUT;
  GPIO_InitStruct.Pull = GPIO_PULLUP;
  HAL_GPIO_Init(SD_DET_GPIO_Port, &GPIO_InitStruct);

  /*Configure GPIO pin : TERM_SENSE_Pin */
  GPIO_InitStruct.Pin = TERM_SENSE_Pin;
  GPIO_InitStruct.Mode = GPIO_MODE_INPUT;
  GPIO_InitStruct.Pull = GPIO_PULLUP;
  HAL_GPIO_Init(TERM_SENSE_GPIO_Port, &GPIO_InitStruct);

  /* EXTI interrupt init*/
  HAL_NVIC_SetPriority(EXTI15_10_IRQn, 5, 0);
  HAL_NVIC_EnableIRQ(EXTI15_10_IRQn);

}

void StartDefaultTask(void *argument)
{
  /* USER CODE BEGIN 5 */
  ( void ) argument;

  /*
   * CubeMX no permite dejar la lista de tareas vacía, así que defaultTask existe
   * por obligación de la herramienta, no porque haga falta. En vez de dejarla
   * girando —se despertaba cada 1 ms en prioridad 24, muy por encima de tkCtl—
   * se elimina a sí misma apenas arranca el scheduler.
   *
   * Se creó con asignación dinámica, así que la idle task devuelve su stack y su
   * TCB al heap. vTaskDelete(NULL) no retorna.
   */
  vTaskDelete( NULL );

  for( ;; )
  {
  }
  /* USER CODE END 5 */
}

void HAL_TIM_PeriodElapsedCallback(TIM_HandleTypeDef *htim)
{
  if (htim->Instance == TIM6)
  {
    HAL_IncTick();
  }
}

void Error_Handler(void)
{
  /* USER CODE BEGIN Error_Handler_Debug */
  /*
   * Con la placa pelada y sin consola, el LED es el único canal de diagnóstico: en vez
   * de colgarse mudo, parpadea un patrón que dice QUÉ falló.
   *
   *   2 destellos + pausa -> un oscilador de baja velocidad no arrancó. Con el cristal
   *                          de 32.768 kHz: sospechar del cristal, de los condensadores
   *                          de carga o de un LSE Drive Capability demasiado bajo.
   *   5 destellos + pausa -> cualquier otra falla (regulador, PLL, init de un periférico).
   *
   * Se detecta el caso "pedido pero no arrancó": LSEON en 1 con LSERDY en 0. Esto es más
   * confiable que mirar qué fuente tiene seleccionada el RTC, porque cuando el LSE no
   * arranca, HAL_RCC_OscConfig() cae acá por timeout ANTES de que nadie haya seleccionado
   * el mux del RTC — mirando RTCSEL, una falla de cristal se reportaría como genérica.
   *
   * Los flags se leen ANTES de cortar las interrupciones, y el pin se reconfigura acá
   * porque Error_Handler() puede dispararse desde SystemClock_Config(), antes de
   * MX_GPIO_Init().
   */
  uint32_t reloj_caido = 0U;

  if( ( ( RCC->BDCR & RCC_BDCR_LSEON ) != 0U ) &&
      ( ( RCC->BDCR & RCC_BDCR_LSERDY ) == 0U ) )
  {
    reloj_caido = 1U;                                  /* se pidió el LSE y no arrancó */
  }
  else if( ( ( RCC->CSR & RCC_CSR_LSION ) != 0U ) &&
           ( ( RCC->CSR & RCC_CSR_LSIRDY ) == 0U ) )
  {
    reloj_caido = 1U;                                  /* idem con el LSI */
  }

  uint32_t destellos = reloj_caido ? ERR_BLINKS_RELOJ : ERR_BLINKS_GENERIC;

  /* ⏳ Este firmware todavía no tiene consola, así que el LED es el ÚNICO canal
     de diagnóstico. Cuando entre la USART hay que reponer acá el aviso por
     texto: es lo que convirtió "un cuelgue mudo" en un mensaje legible. */

  __disable_irq();

  /*
   * Sin esto los destellos salen MAL. Si Error_Handler() se dispara desde adentro
   * de SystemClock_Config(), SystemCoreClock todavía vale 4 MHz en vez de 60, y
   * error_delay_ms() —que con el tick por LPTIM1 usa SIEMPRE el lazo tosco,
   * porque el SysTick nunca se arranca— sale quince veces más rápido: el patrón
   * de 2 destellos se convierte en un parpadeo tan veloz que a ojo parece un LED
   * PRENDIDO FIJO. Costó confundir eso con un cuelgue mudo. SystemCoreClockUpdate()
   * recalcula el valor real leyendo los registros del RCC.
   */
  SystemCoreClockUpdate();

  led_config();

  while (1)
  {
    for( uint32_t i = 0U; i < destellos; i++ )
    {
      HAL_GPIO_WritePin( LED_PORT, LED_PIN, GPIO_PIN_SET );
      error_delay_ms( ERR_BLINK_ON_MS );
      HAL_GPIO_WritePin( LED_PORT, LED_PIN, GPIO_PIN_RESET );
      error_delay_ms( ERR_BLINK_OFF_MS );
    }
    error_delay_ms( ERR_PAUSE_MS );
  }
  /* USER CODE END Error_Handler_Debug */
}

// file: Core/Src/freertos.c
/* USER CODE BEGIN Header */
/**
  ******************************************************************************
  * File Name          : freertos.c
  * Description        : Code for freertos applications
  ******************************************************************************
  * @attention
  *
  * Copyright (c) 2026 STMicroelectronics.
  * All rights reserved.
  *
  * This software is licensed under terms that can be found in the LICENSE file
  * in the root directory of this software component.
  * If no LICENSE file comes with this software, it is provided AS-IS.
  *
  ******************************************************************************
  */
/* USER CODE END Header */

#include "FreeRTOS.h"
#include "task.h"
#include "main.h"

/* USER CODE BEGIN VPORT_SUPPORT_TICKS_AND_SLEEP */
__weak void vPortSuppressTicksAndSleep( TickType_t xExpectedIdleTime )
{
  // Generated when configUSE_TICKLESS_IDLE == 2.
  // Function called in tasks.c (in portTASK_FUNCTION).
  // TO BE COMPLETED or TO BE REPLACED by a user one, overriding that weak one.
}
/* USER CODE END VPORT_SUPPORT_TICKS_AND_SLEEP */
